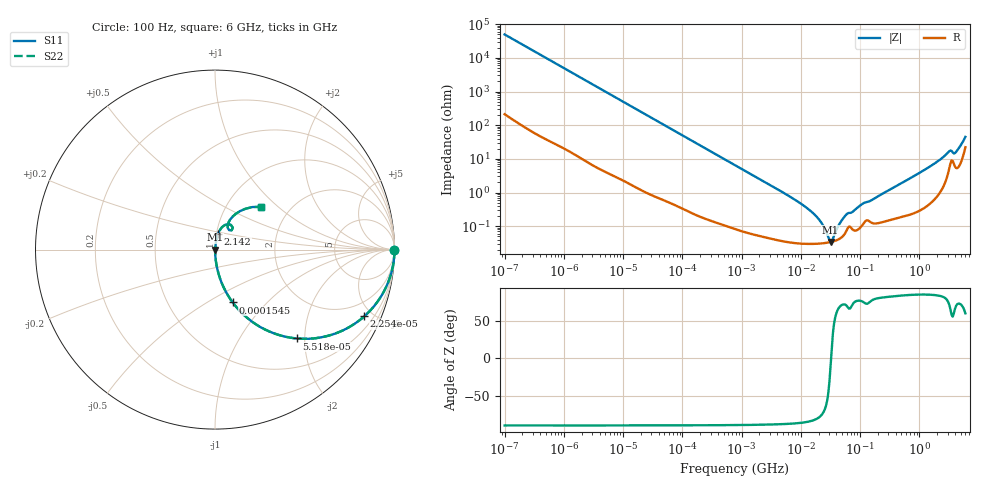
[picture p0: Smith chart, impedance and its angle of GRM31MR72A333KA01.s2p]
!Murata Part Number: GRM31MR72A333KA01
!These Parameters are Measured in Series Mode Connection
!Data Generated on Mar 30, 2021
!  o--ll--o
!Port1  Port2
!  o------o
!Operation Temp=25[degC], DC Bias Voltage=0[V]
!Freq. Start=100[Hz] Stop=6[GHz] 401[Steps]
# Hz S RI R 50
!Freq.(Hz) S11(Real) S11(Imag) S21(Real) S21(Imag) S12(Real) S12(Imag) S22(Real) S22(Imag)
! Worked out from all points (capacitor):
!   401 points, 100 Hz to 6 GHz, reference 50 ohm
!   read as one part in series: C = 32.1 nF near 109 Hz
!   lowest |Z| = 34.3 mohm at 31.85 MHz (marker M1)
!   series resonance near 32.38 MHz, so ESL is about 750 pH
!   S11 on the Smith chart (normalised r, x): 100 Hz: open; 22.54 kHz: 1.02, -4.46; 55.18 kHz: 1.01, -1.83; 154.5 kHz: 1.00, -0.65; 2.142 GHz: 1.02, +0.18; 6 GHz: 1.44, +0.78
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100  1 -0.00202  1.27e-05 0.00202  1.27e-05 0.00202  1 -0.00202
2008  0.9982 -0.0401  0.00178 0.0401  0.00178 0.0401  0.9982 -0.0401
7358  0.9783 -0.1436  0.0217 0.1436  0.0217 0.1436  0.9783 -0.1436
22537  0.8314 -0.3721  0.1686 0.3721  0.1686 0.3721  0.8314 -0.3721
40335  0.6083 -0.4854  0.3917 0.4854  0.3917 0.4854  0.6083 -0.4854
55182  0.4549 -0.495  0.5451 0.495  0.5451 0.495  0.4549 -0.495
94437  0.2238 -0.4135  0.7762 0.4135  0.7762 0.4135  0.2238 -0.4135
154540  0.0985 -0.2944  0.9015 0.2944  0.9015 0.2944  0.0985 -0.2944
774597  0.00512 -0.0654  0.9949 0.0654  0.9949 0.0654  0.00512 -0.0654
6644369  0.000383 -0.00745  0.9996 0.00745  0.9996 0.00745  0.000383 -0.00745
1.555665e7  0.000305 -0.00257  0.9997 0.00257  0.9997 0.00257  0.000305 -0.00257
2.225763e7  0.000309 -0.00123  0.9997 0.00123  0.9997 0.00123  0.000309 -0.00123
3.184506e7  0.000339 -5.34e-05  0.9997 5.34e-05  0.9997 5.34e-05  0.000339 -5.34e-05
3.482834e7  0.000352 0.000237  0.9996 -0.000237  0.9996 -0.000237  0.000352 0.000237
4.764863e7  0.000453 0.00131  0.9995 -0.00131  0.9995 -0.00131  0.000453 0.00131
5.960426e7  0.000764 0.00216  0.9992 -0.00216  0.9992 -0.00216  0.000764 0.00216
1.115611e8  0.00115 0.00455  0.9988 -0.00455  0.9988 -0.00455  0.00115 0.00455
3.124326e8  0.00164 0.0119  0.9984 -0.0119  0.9984 -0.0119  0.00164 0.0119
2.142435e9  0.0166 0.087  0.9834 -0.087  0.9834 -0.087  0.0166 0.087
3.205649e9  0.0709 0.1413  0.9291 -0.1413  0.9291 -0.1413  0.0709 0.1413
4.193612e9  0.0704 0.1356  0.9296 -0.1356  0.9296 -0.1356  0.0704 0.1356
6e9  0.2581 0.2381  0.7419 -0.2381  0.7419 -0.2381  0.2581 0.2381
